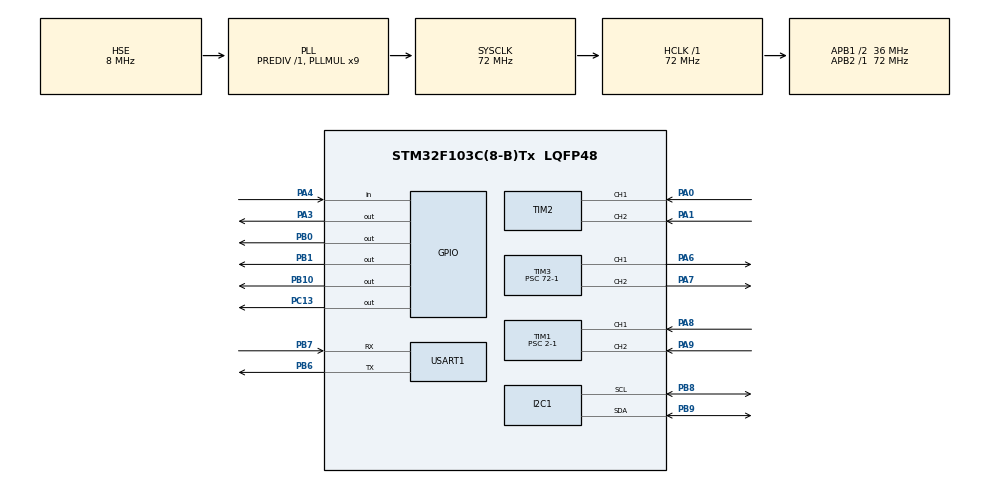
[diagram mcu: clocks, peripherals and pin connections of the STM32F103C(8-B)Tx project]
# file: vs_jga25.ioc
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Dma.Request0=USART1_RX
Dma.Request1=USART1_TX
Dma.USART1_RX.0.Direction=DMA_PERIPH_TO_MEMORY
Dma.USART1_RX.0.Instance=DMA1_Channel5
Dma.USART1_RX.0.MemDataAlignment=DMA_MDATAALIGN_BYTE
Dma.USART1_RX.0.MemInc=DMA_MINC_ENABLE
Dma.USART1_RX.0.Mode=DMA_NORMAL
Dma.USART1_RX.0.PeriphDataAlignment=DMA_PDATAALIGN_BYTE
Dma.USART1_RX.0.PeriphInc=DMA_PINC_DISABLE
Dma.USART1_RX.0.Priority=DMA_PRIORITY_LOW
Dma.USART1_TX.1.Direction=DMA_MEMORY_TO_PERIPH
Dma.USART1_TX.1.Instance=DMA1_Channel4
Dma.USART1_TX.1.MemDataAlignment=DMA_MDATAALIGN_BYTE
Dma.USART1_TX.1.MemInc=DMA_MINC_ENABLE
Dma.USART1_TX.1.Mode=DMA_NORMAL
Dma.USART1_TX.1.PeriphDataAlignment=DMA_PDATAALIGN_BYTE
Dma.USART1_TX.1.PeriphInc=DMA_PINC_DISABLE
Dma.USART1_TX.1.Priority=DMA_PRIORITY_LOW
I2C1.I2C_Mode=I2C_Fast
Mcu.Family=STM32F1
Mcu.Name=STM32F103C(8-B)Tx
Mcu.Package=LQFP48
NVIC.DMA1_Channel4_IRQn=true\:0\:0\:false\:false\:true\:false\:true\:true
NVIC.DMA1_Channel5_IRQn=true\:0\:0\:false\:false\:true\:false\:true\:true
NVIC.PriorityGroup=NVIC_PRIORITYGROUP_4
NVIC.TIM4_IRQn=true\:0\:0\:false\:false\:true\:true\:true\:true
NVIC.USART1_IRQn=true\:0\:0\:false\:false\:true\:true\:true\:true
PA0-WKUP.Signal=S_TIM2_CH1_ETR
PA1.Signal=S_TIM2_CH2
PA13.Mode=Serial_Wire
PA13.Signal=SYS_JTMS-SWDIO
PA14.Mode=Serial_Wire
PA14.Signal=SYS_JTCK-SWCLK
PA3.Signal=GPIO_Output
PA4.GPIO_PuPd=GPIO_PULLUP
PA4.Signal=GPIO_Input
PA6.Signal=S_TIM3_CH1
PA7.Signal=S_TIM3_CH2
PA8.Signal=S_TIM1_CH1
PA9.Signal=S_TIM1_CH2
PB0.Signal=GPIO_Output
PB1.Signal=GPIO_Output
PB10.Signal=GPIO_Output
PB6.Mode=Asynchronous
PB6.Signal=USART1_TX
PB7.Mode=Asynchronous
PB7.Signal=USART1_RX
PB8.Mode=I2C
PB8.Signal=I2C1_SCL
PB9.Mode=I2C
PB9.Signal=I2C1_SDA
PC13-TAMPER-RTC.Signal=GPIO_Output
PD0-OSC_IN.Mode=HSE-External-Oscillator
PD0-OSC_IN.Signal=RCC_OSC_IN
PD1-OSC_OUT.Mode=HSE-External-Oscillator
PD1-OSC_OUT.Signal=RCC_OSC_OUT
ProjectManager.HeapSize=0x200
ProjectManager.StackSize=0x400
ProjectManager.TargetToolchain=CMake
RCC.AHBFreq_Value=72000000
RCC.APB1CLKDivider=RCC_HCLK_DIV2
RCC.APB1Freq_Value=36000000
RCC.APB1TimFreq_Value=72000000
RCC.APB2Freq_Value=72000000
RCC.APB2TimFreq_Value=72000000
RCC.HCLKFreq_Value=72000000
RCC.PLLMUL=RCC_PLL_MUL9
RCC.PLLSourceVirtual=RCC_PLLSOURCE_HSE
RCC.SYSCLKFreq_VALUE=72000000
RCC.SYSCLKSource=RCC_SYSCLKSOURCE_PLLCLK
RCC.USBFreq_Value=72000000
SH.S_TIM1_CH1.0=TIM1_CH1,Encoder_Interface
SH.S_TIM1_CH2.0=TIM1_CH2,Encoder_Interface
SH.S_TIM2_CH1_ETR.0=TIM2_CH1,Encoder_Interface
SH.S_TIM2_CH2.0=TIM2_CH2,Encoder_Interface
SH.S_TIM3_CH1.0=TIM3_CH1,PWM Generation1 CH1
SH.S_TIM3_CH2.0=TIM3_CH2,PWM Generation2 CH2
TIM1.IC1Filter=15
TIM1.IC1Polarity=TIM_ICPOLARITY_RISING
TIM1.IC2Filter=15
TIM1.Prescaler=2-1
TIM2.EncoderMode=TIM_ENCODERMODE_TI12
TIM2.IC1Filter=4
TIM2.IC2Filter=4
TIM3.Channel-PWM\ Generation1\ CH1=TIM_CHANNEL_1
TIM3.Channel-PWM\ Generation2\ CH2=TIM_CHANNEL_2
TIM3.Period=100-1
TIM3.Prescaler=72-1
TIM4.Period=1000-1
TIM4.Prescaler=72-1
USART1.VirtualMode=VM_ASYNC
VP_TIM3_VS_ClockSourceINT.Mode=Internal
VP_TIM4_VS_ClockSourceINT.Mode=Internal
board=custom

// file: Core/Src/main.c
/* USER CODE BEGIN Header */
/**
  ******************************************************************************
  * @file           : main.c
  * @brief          : Main program body
  ******************************************************************************
  * @attention
  *
  * Copyright (c) 2025 STMicroelectronics.
  * All rights reserved.
  *
  * This software is licensed under terms that can be found in the LICENSE file
  * in the root directory of this software component.
  * If no LICENSE file comes with this software, it is provided AS-IS.
  *
  ******************************************************************************
  */
/* USER CODE END Header */
#include "main.h"
#include "dma.h"
#include "i2c.h"
#include "tim.h"
#include "usart.h"
#include "gpio.h"

/* USER CODE BEGIN Includes */
#include "stdio.h"
#include "string.h"
#include "encoder.h"
#include "pid.h"
#include "motor.h"

/* USER CODE END Includes */

void SystemClock_Config(void);

int main(void)
{

  /* MCU Configuration--------------------------------------------------------*/

  /* Reset of all peripherals, Initializes the Flash interface and the Systick. */
  HAL_Init();

  /* Configure the system clock */
  SystemClock_Config();

  /* Initialize all configured peripherals */
  MX_GPIO_Init();
  MX_DMA_Init();
  MX_USART1_UART_Init();
  MX_I2C1_Init();
  MX_TIM2_Init();
  MX_TIM3_Init();
  MX_TIM4_Init();
  MX_TIM1_Init();
  /* USER CODE BEGIN 2 */
  HAL_TIM_Encoder_Start(&htim2, TIM_CHANNEL_ALL);
  HAL_TIM_Encoder_Start(&htim1, TIM_CHANNEL_ALL);
  HAL_TIM_Base_Start_IT(&htim4);
  // 开启tim3的pwm
  HAL_TIM_PWM_Start(&htim3, TIM_CHANNEL_1);
  HAL_TIM_PWM_Start(&htim3, TIM_CHANNEL_2);
  // pb0低电平 pb1高电平 pa3低电平
  // HAL_GPIO_WritePin(GPIOB, GPIO_PIN_1, GPIO_PIN_RESET);
   //HAL_GPIO_WritePin(GPIOB, GPIO_PIN_0, GPIO_PIN_SET);
 // HAL_GPIO_WritePin(GPIOA, GPIO_PIN_3, GPIO_PIN_SET); // 失能电机

  // __HAL_TIM_SET_COMPARE(&htim3, TIM_CHANNEL_1, 800); // tim3占空比500
  // __HAL_TIM_SET_COMPARE(&htim3, TIM_CHANNEL_2, 800); // tim3占空比500
  /* USER CODE END 2 */

  /* Infinite loop */
  /* USER CODE BEGIN WHILE */
  while (1)
  {
    //count_button = Read_Position(&htim1);
    //Target = count_button;
    // 每40ms读取一次编码器速度

    //Motor1_SetPWM(Position_Speed_Output());
    //Read_Encoder_Speed();
    Motor1_SetPWM(80);
    HAL_Delay(1000);
    Motor1_SetPWM(0);
    HAL_Delay(1000);
    Motor1_SetPWM(-80);
    HAL_Delay(1000);
    Motor1_SetPWM(0);
    HAL_Delay(1000);
    /* USER CODE END WHILE */

  }
}

void SystemClock_Config(void)
{
  RCC_OscInitTypeDef RCC_OscInitStruct = {0};
  RCC_ClkInitTypeDef RCC_ClkInitStruct = {0};

  /** Initializes the RCC Oscillators according to the specified parameters
  * in the RCC_OscInitTypeDef structure.
  */
  RCC_OscInitStruct.OscillatorType = RCC_OSCILLATORTYPE_HSE;
  RCC_OscInitStruct.HSEState = RCC_HSE_ON;
  RCC_OscInitStruct.HSEPredivValue = RCC_HSE_PREDIV_DIV1;
  RCC_OscInitStruct.HSIState = RCC_HSI_ON;
  RCC_OscInitStruct.PLL.PLLState = RCC_PLL_ON;
  RCC_OscInitStruct.PLL.PLLSource = RCC_PLLSOURCE_HSE;
  RCC_OscInitStruct.PLL.PLLMUL = RCC_PLL_MUL9;
  if (HAL_RCC_OscConfig(&RCC_OscInitStruct) != HAL_OK)
  {
    Error_Handler();
  }

  /** Initializes the CPU, AHB and APB buses clocks
  */
  RCC_ClkInitStruct.ClockType = RCC_CLOCKTYPE_HCLK|RCC_CLOCKTYPE_SYSCLK
                              |RCC_CLOCKTYPE_PCLK1|RCC_CLOCKTYPE_PCLK2;
  RCC_ClkInitStruct.SYSCLKSource = RCC_SYSCLKSOURCE_PLLCLK;
  RCC_ClkInitStruct.AHBCLKDivider = RCC_SYSCLK_DIV1;
  RCC_ClkInitStruct.APB1CLKDivider = RCC_HCLK_DIV2;
  RCC_ClkInitStruct.APB2CLKDivider = RCC_HCLK_DIV1;

  if (HAL_RCC_ClockConfig(&RCC_ClkInitStruct, FLASH_LATENCY_2) != HAL_OK)
  {
    Error_Handler();
  }
}

/* USER CODE BEGIN 4 */
// tim3中断回调函数
void HAL_TIM_PeriodElapsedCallback(TIM_HandleTypeDef *htim)
{
    static uint8_t count = 0;
    if(htim->Instance == TIM4)
    {
      count++;

      if(count >= 40)
      {
        tim_read = 1;   // 每 40 次中断触发一次
        tim_uart = 1;
        tim_SetPWM = 1; // 每 40 次中断触发一次PWM设置
        count = 0;
      }

    }
}

// dma接收完成回调函数
void HAL_UART_TxCpltCallback(UART_HandleTypeDef *huart)
{
    if (huart->Instance == USART1)
    {
        // 传输完成后的处理代码

    }
}
/* USER CODE END 4 */

void Error_Handler(void)
{
  __disable_irq();
  while (1)
  {
  }
}
